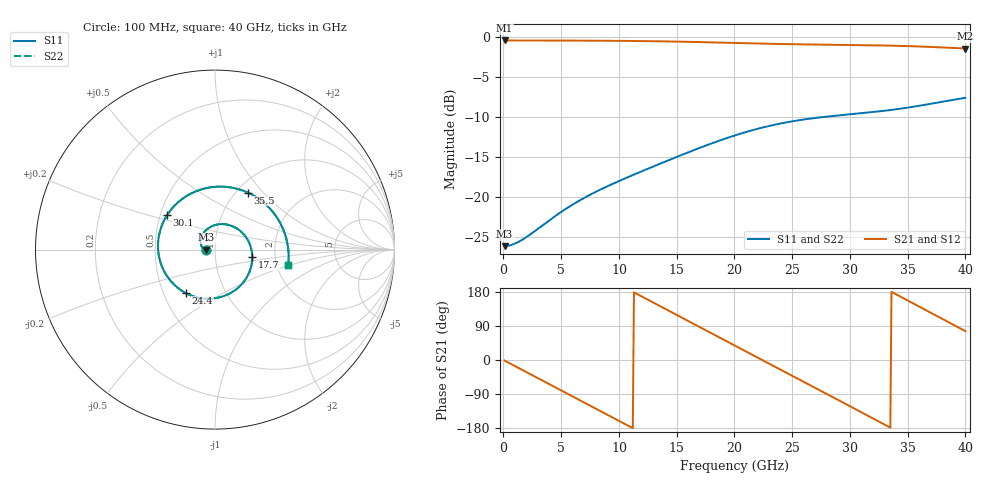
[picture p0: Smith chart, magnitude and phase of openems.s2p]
! P_ts6_pad: 0402 capacitor pad (0.56 × 0.62 mm) on a 50 Ω microstrip, plane intact
! stackup: ThunderScope Rev5.3 6-layer (FR408HR / FR-4, from the board file)
! ports: 1, 2
! openEMS 0.37.0, staircase, fine mesh (dfine 0.0175 mm), 827789 cells
# Hz S RI R 50
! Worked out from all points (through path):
!   400 points, 100 MHz to 40 GHz, reference 50 ohm
!   highest |S21| = -0.44 dB at 100 MHz (marker M1); lowest = -1.4 dB at 40 GHz (marker M2)
!   group delay of S21, straight-line fit = 44.7 ps
!   lowest |S11| = -26.1 dB at 100 MHz (marker M3), VSWR 1.10, Z = 45.3 - j0.0156 ohm
!   |S11| at or under -10 dB: start of sweep to 27.71 GHz
!   |S22| runs from -26.1 to -7.6 dB; largest |S21 - S12| = 0
!   S11 on the Smith chart (normalised r, x): 100 MHz: 0.91, -0.00; 17.7 GHz: 1.52, -0.13; 24.4 GHz: 0.65, -0.34; 30.1 GHz: 0.54, +0.23; 35.5 GHz: 1.13, +0.83; 40 GHz: 2.31, -0.48
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1e8  -0.0493 -0.000172  0.9502 -0.0266  0.9502 -0.0266  -0.0493 -0.000172
1.9e9  -0.0557 -0.000929  0.8189 -0.4821  0.8189 -0.4821  -0.0557 -0.000929
3.8e9  -0.0694 0.00934  0.461 -0.8304  0.461 -0.8304  -0.0694 0.00934
5.3e9  -0.0784 0.0286  0.0821 -0.9456  0.0821 -0.9456  -0.0784 0.0286
6.8e9  -0.0791 0.0562  -0.3107 -0.8959  -0.3107 -0.8959  -0.0791 0.0562
8.7e9  -0.0608 0.0965  -0.7216 -0.6128  -0.7216 -0.6128  -0.0608 0.0965
1.03e10  -0.0258 0.126  -0.9144 -0.2381  -0.9144 -0.2381  -0.0258 0.126
1.18e10  0.0228 0.1412  -0.9294 0.1565  -0.9294 0.1565  0.0228 0.1412
1.34e10  0.0863 0.1344  -0.7662 0.5433  -0.7662 0.5433  0.0863 0.1344
1.56e10  0.1707 0.0721  -0.307 0.8815  -0.307 0.8815  0.1707 0.0721
1.77e10  0.2077 -0.0424  0.2335 0.8963  0.2335 0.8963  0.2077 -0.0424
2.01e10  0.1503 -0.1914  0.7336 0.5499  0.7336 0.5499  0.1503 -0.1914
2.22e10  0.0129 -0.2687  0.9074 0.0512  0.9074 0.0512  0.0129 -0.2687
2.44e10  -0.1627 -0.2422  0.7654 -0.4772  0.7654 -0.4772  -0.1627 -0.2422
2.67e10  -0.2939 -0.0983  0.325 -0.8359  0.325 -0.8359  -0.2939 -0.0983
2.84e10  -0.3163 0.0489  -0.0943 -0.8891  -0.0943 -0.8891  -0.3163 0.0489
3.01e10  -0.2672 0.1918  -0.4915 -0.7435  -0.4915 -0.7435  -0.2672 0.1918
3.18e10  -0.1574 0.2992  -0.7764 -0.4306  -0.7764 -0.4306  -0.1574 0.2992
3.34e10  -0.0173 0.3481  -0.8818 -0.0468  -0.8818 -0.0468  -0.0173 0.3481
3.55e10  0.1831 0.3174  -0.7487 0.4513  -0.7487 0.4513  0.1831 0.3174
3.78e10  0.3587 0.1563  -0.3176 0.8003  -0.3176 0.8003  0.3587 0.1563
4e10  0.4079 -0.0863  0.2015 0.8224  0.2015 0.8224  0.4079 -0.0863
